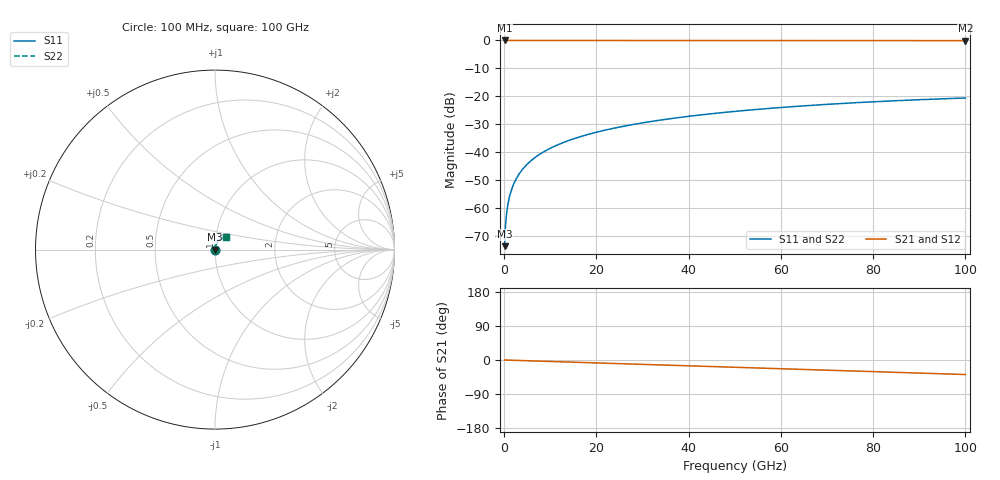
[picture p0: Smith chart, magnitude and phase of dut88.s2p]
! Touchstone file exported from HFSS 2026.1.0
!  File:  C:/ffzhzh/LocalFiles/Ansys_Project_Files/temp_train_TSV_88_1783505556_9504.aedt
!  Generated:  06:13:53 PM Jul  8, 2026
!  Design:  TSV
!  Project:  temp_train_TSV_88_1783505556_9504
! Variables:
!  h_bsmrdl = 2um
!  h_ox = 20um
!  h_rdl = 5um
!  h_sub = 74.38um
!  h_tmrdl = 5um
!  h_tsv = 74.38um
!  h_via = 3um
!  l_bsmrdl = 300um
!  l_sub = 418.38um
!  l_tmrdl = 200um
!  m_sub = 200um
!  pitch = 45.21um
!  r_tsv = 9.19um
!  s_tmrdl = 10um
!  w_bsmrdl = 18um
!  w_sub = 500um
!  w_tmrdl = 12um
!  x_tsv_center1 = 206um
!  x_tsv_center2 = 524um
!  x_tsv_center3 = 736um
!  x_tsv_center4 = 1054um
!  x_tsv_center5 = 1266um
!  x_tsv_center6 = 1584um
# GHz S MA R 50.000000
! Terminal data exported
! Port[1] = TSV1_1_T1
! Port[2] = TSV1_1_T2
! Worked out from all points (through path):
!   1000 points, 100 MHz to 100 GHz, reference 50 ohm
!   highest |S21| = 0.00 dB at 100 MHz (marker M1); lowest = -0.1 dB at 100 GHz (marker M2)
!   group delay of S21, straight-line fit = 1.06 ps
!   lowest |S11| = -73.8 dB at 100 MHz (marker M3), VSWR 1.00, Z = 50 + j0.0153 ohm
!   |S11| at or under -10 dB: start of sweep to end of sweep
!   |S22| runs from -73.8 to -20.6 dB; largest |S21 - S12| = 4.3e-15
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0.1  0.000205 48.4  0.9999 -0.0  0.9999 -0.0  0.000205 48.4
! Gamma 0 0 0 0
! Port Impedance 50 0 50 0
0.4  0.0006145 72.4  0.9998 -0.2  0.9998 -0.2  0.0006145 72.4
0.7  0.001005 76.0  0.9998 -0.3  0.9998 -0.3  0.001005 76.0
0.8  0.001131 76.7  0.9997 -0.3  0.9997 -0.3  0.001131 76.7
1.1  0.0015 78.2  0.9997 -0.4  0.9997 -0.4  0.0015 78.2
1.4  0.001864 79.2  0.9997 -0.6  0.9997 -0.6  0.001864 79.2
1.9  0.002464 80.3  0.9996 -0.7  0.9996 -0.7  0.002464 80.3
2.4  0.003055 80.9  0.9996 -0.9  0.9996 -0.9  0.003055 80.9
3.1  0.003871 81.4  0.9995 -1.2  0.9995 -1.2  0.003871 81.4
3.9  0.004791 81.8  0.9994 -1.5  0.9994 -1.5  0.004791 81.8
4.9  0.00593 82.0  0.9994 -1.9  0.9994 -1.9  0.00593 82.0
6.1  0.007289 82.2  0.9993 -2.4  0.9993 -2.4  0.007289 82.2
8.9  0.01044 81.9  0.9991 -3.4  0.9991 -3.4  0.01044 81.9
12.4  0.01432 81.2  0.9989 -4.8  0.9989 -4.8  0.01432 81.2
16.8  0.01915 80.0  0.9986 -6.5  0.9986 -6.5  0.01915 80.0
24.2  0.02715 77.7  0.9982 -9.3  0.9982 -9.3  0.02715 77.7
33.4  0.03686 74.6  0.9977 -12.9  0.9977 -12.9  0.03686 74.6
41.2  0.04483 71.9  0.9972 -15.8  0.9972 -15.8  0.04483 71.8
50.1  0.05357 68.6  0.9965 -19.2  0.9965 -19.2  0.05357 68.6
66.7  0.0687 62.6  0.9953 -25.6  0.9953 -25.6  0.0687 62.6
83.4  0.08202 56.4  0.994 -32.0  0.994 -32.0  0.08202 56.3
100  0.09289 50.2  0.9927 -38.3  0.9927 -38.3  0.09289 50.2
